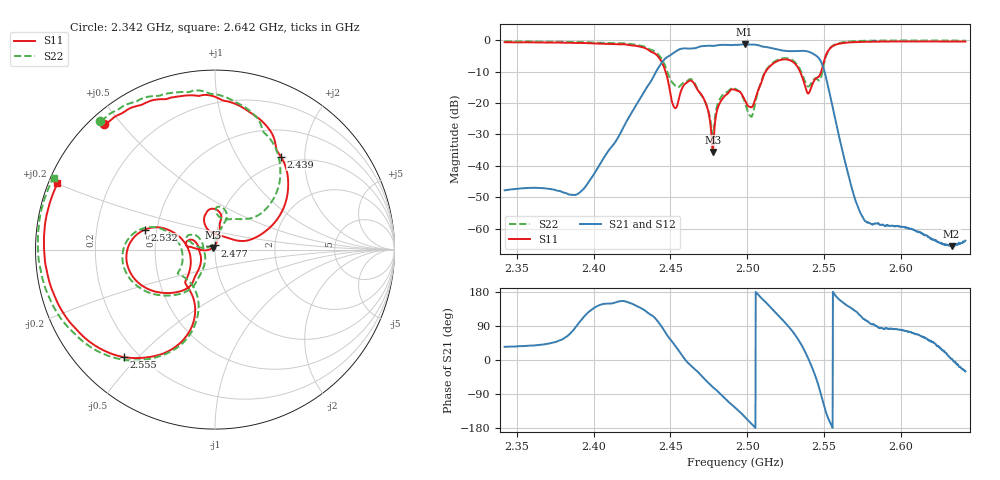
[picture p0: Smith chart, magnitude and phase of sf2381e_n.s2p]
# Hz S RI R 50
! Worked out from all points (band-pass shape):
!   1601 points, 2.342 GHz to 2.642 GHz, reference 50 ohm
!   highest |S21| = -1.31 dB at 2.498 GHz (marker M1); lowest = -65.6 dB at 2.633 GHz (marker M2)
!   |S21| within 3 dB of the highest: 2.451 GHz to 2.543 GHz (91.77 MHz wide, 3.68 % of centre)
!   lowest |S11| = -35.6 dB at 2.478 GHz (marker M3), VSWR 1.03, Z = 48.8 + j1.12 ohm
!   |S11| at or under -10 dB: 2.447 GHz to 2.512 GHz (65.18 MHz wide, 2.63 % of centre); 2.534 GHz to 2.548 GHz (13.76 MHz wide, 0.542 % of centre)
!   |S22| runs from -30.4 to -0.1 dB; largest |S21 - S12| = 0.0014
!   S11 on the Smith chart (normalised r, x): 2.342 GHz: 0.04, +0.45; 2.439 GHz: 0.90, +1.55; 2.477 GHz: 1.00, +0.05; 2.532 GHz: 0.43, +0.11; 2.555 GHz: 0.15, -0.45; 2.642 GHz: 0.03, +0.20
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2.342e9  -0.6167 0.6985  0.00334 0.00232  0.00333 0.00232  -0.6383 0.719
2.392062e9  -0.3721 0.8237  -0.00112 0.00382  -0.00112 0.00383  -0.3999 0.8438
2.438938e9  0.3693 0.5145  -0.11 0.2403  -0.1103 0.2405  0.3149 0.6057
2.442125e9  0.4078 0.3585  -0.0629 0.3589  -0.0632 0.3592  0.3629 0.4657
2.452438e9  0.0428 0.0741  0.4824 0.4201  0.4825 0.421  0.0986 0.1701
2.458625e9  -0.0594 0.1816  0.7384 0.076  0.7391 0.077  0.00738 0.2128
2.471e9  0.0267 0.1231  0.5673 -0.5743  0.5684 -0.5746  0.0343 0.1168
2.477e9  -0.000931 0.023  0.2839 -0.7638  0.2845 -0.7647  -0.00887 0.0341
2.477562e9  -0.012 0.0114  0.2574 -0.7716  0.2581 -0.7725  -0.0199 0.0228
2.482062e9  -0.0994 0.00402  0.0297 -0.8407  0.03 -0.8415  -0.1123 0.0253
2.492e9  -0.1561 0.0471  -0.4899 -0.6896  -0.4898 -0.6903  -0.1493 0.0799
2.498188e9  -0.1061 0.0397  -0.7394 -0.4384  -0.7393 -0.4394  -0.0861 0.0624
2.502875e9  -0.0805 -0.0295  -0.8367 -0.1689  -0.8373 -0.1697  -0.0571 -0.0211
2.516375e9  -0.3482 -0.2296  -0.5118 0.5382  -0.5121 0.5385  -0.3595 -0.2426
2.53175e9  -0.3902 0.1115  0.3094 0.5986  0.3092 0.5992  -0.4137 0.1139
2.542062e9  -0.1436 -0.1241  0.5926 -0.1989  0.5931 -0.1994  -0.1907 -0.1014
2.547125e9  -0.1334 -0.2406  0.1011 -0.4859  0.101 -0.4861  -0.1432 -0.1777
2.555e9  -0.5082 -0.5987  -0.0997 -0.00957  -0.0998 -0.00943  -0.509 -0.6139
2.573562e9  -0.925 -0.1714  -0.000824 0.00159  -0.000818 0.00158  -0.962 -0.1585
2.592125e9  -0.9531 0.0659  0.000148 0.0011  0.000145 0.0011  -0.9861 0.0901
2.633e9  -0.8948 0.3305  0.000524 2.3e-05  0.000529 1.92e-05  -0.9189 0.3623
2.642e9  -0.8777 0.3684  0.000557 -0.000322  0.000568 -0.000308  -0.8996 0.4007
